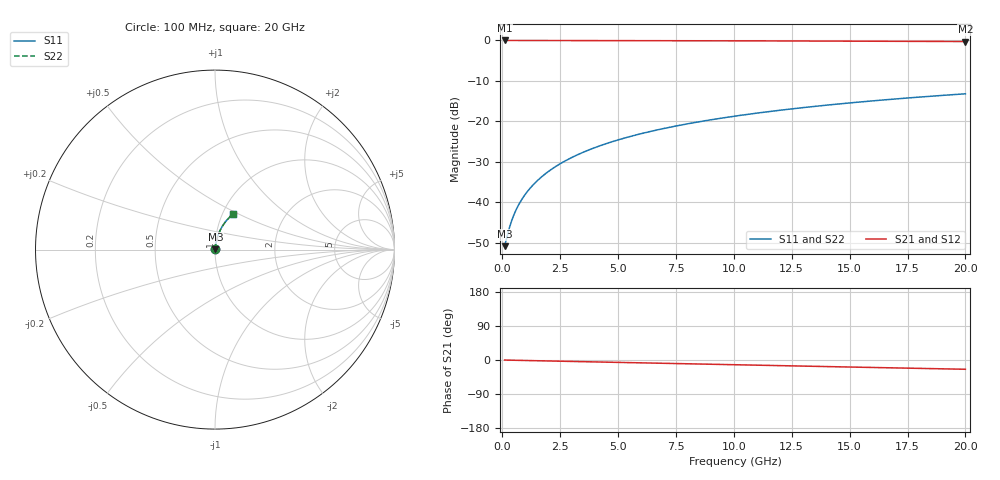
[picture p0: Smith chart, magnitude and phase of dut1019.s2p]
! Touchstone file exported from HFSS 2026.1.0
!  File:  C:/ffzhzh/LocalFiles/Ansys_Project_Files/temp_train_TMRDL_1019_1783159847_43440.aedt
!  Generated:  06:12:00 PM Jul  4, 2026
!  Design:  TMRDL
!  Project:  temp_train_TMRDL_1019_1783159847_43440
! Variables:
!  h_bsmrdl = 2um
!  h_ox = 20um
!  h_rdl = 5um
!  h_sub = 80um
!  h_tmrdl = 2.7um
!  h_tsv = 80um
!  h_via = 3um
!  l_bsmrdl = 300um
!  l_sub = 746.07um
!  l_tmrdl = 346.07um
!  m_sub = 200um
!  pitch = 37.84um
!  r_tsv = 6um
!  s_tmrdl = 10um
!  w_bsmrdl = 18um
!  w_sub = 500um
!  w_tmrdl = 19.87um
!  x_tsv_center1 = 356.005um
!  x_tsv_center2 = 674.005um
!  x_tsv_center3 = 1039.945um
!  x_tsv_center4 = 1357.945um
!  x_tsv_center5 = 1723.885um
!  x_tsv_center6 = 2041.885um
# GHz S MA R 50.000000
! Terminal data exported
! Port[1] = TM_RDL1_1_T1
! Port[2] = TM_RDL1_1_T2
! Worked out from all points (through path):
!   200 points, 100 MHz to 20 GHz, reference 50 ohm
!   highest |S21| = -0.02 dB at 100 MHz (marker M1); lowest = -0.3 dB at 20 GHz (marker M2)
!   group delay of S21, straight-line fit = 3.4 ps
!   lowest |S11| = -50.8 dB at 100 MHz (marker M3), VSWR 1.01, Z = 50.3 + j0.134 ohm
!   |S11| at or under -10 dB: start of sweep to end of sweep
!   |S22| runs from -50.8 to -13.2 dB; largest |S21 - S12| = 3.5e-15
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0.1  0.00288 27.6  0.9975 -0.1  0.9975 -0.1  0.00288 27.6
! Gamma 0 0 0 0
! Port Impedance 50 0 50 0
0.3  0.004781 54.9  0.9973 -0.4  0.9973 -0.4  0.004781 54.9
0.4  0.00589 60.8  0.9972 -0.5  0.9972 -0.5  0.00589 60.8
0.5  0.007013 64.7  0.9971 -0.7  0.9971 -0.7  0.007013 64.7
0.6  0.008138 67.5  0.997 -0.8  0.997 -0.8  0.008138 67.5
0.8  0.01039 71.4  0.9968 -1.0  0.9968 -1.0  0.01039 71.4
1  0.01266 73.9  0.9967 -1.3  0.9967 -1.3  0.01266 73.9
1.2  0.01493 75.7  0.9966 -1.5  0.9966 -1.5  0.01493 75.7
1.4  0.01723 77.0  0.9965 -1.8  0.9965 -1.8  0.01723 77.0
1.7  0.02069 78.3  0.9964 -2.2  0.9964 -2.2  0.02069 78.3
2.2  0.02649 79.6  0.9962 -2.8  0.9962 -2.8  0.02649 79.6
2.8  0.03348 80.2  0.9958 -3.5  0.9958 -3.5  0.03348 80.2
3.5  0.04164 80.4  0.9954 -4.4  0.9954 -4.4  0.04164 80.4
4.2  0.04978 80.2  0.9948 -5.3  0.9948 -5.3  0.04978 80.2
5  0.05905 79.7  0.9941 -6.3  0.9941 -6.3  0.05905 79.7
5.9  0.06942 78.9  0.9932 -7.4  0.9932 -7.4  0.06942 79.0
6.8  0.07971 78.1  0.9922 -8.6  0.9922 -8.6  0.07971 78.1
8.3  0.09666 76.5  0.9902 -10.4  0.9902 -10.4  0.09666 76.6
10.1  0.1166 74.6  0.9875 -12.6  0.9875 -12.6  0.1166 74.6
13.4  0.1522 70.8  0.9816 -16.6  0.9816 -16.6  0.1522 70.8
16.7  0.1863 67.1  0.9748 -20.6  0.9748 -20.6  0.1863 67.1
20  0.2189 63.3  0.9673 -24.5  0.9673 -24.5  0.2189 63.4
